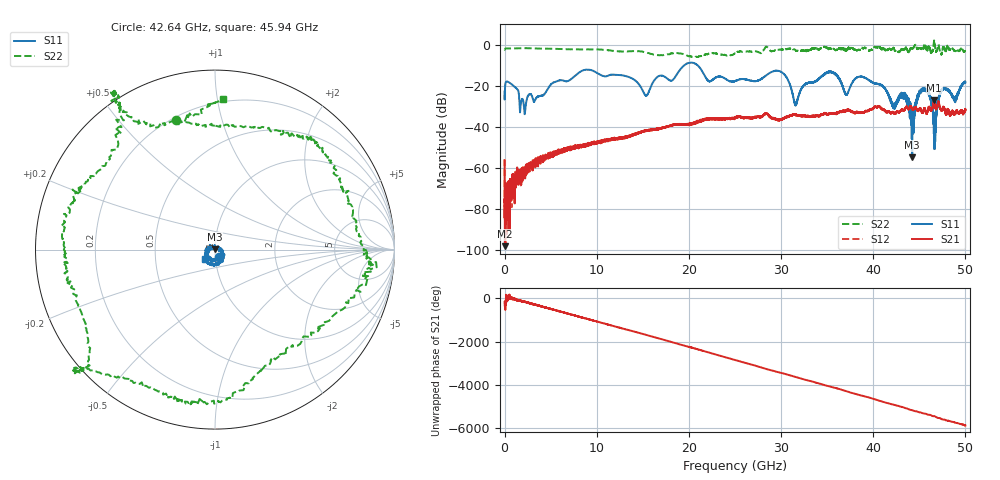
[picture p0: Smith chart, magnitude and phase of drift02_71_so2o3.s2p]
!Created with skrf (http://scikit-rf.org).
# Hz S RI R 50.0
!freq ReS11 ImS11 ReS21 ImS21 ReS12 ImS12 ReS22 ImS22
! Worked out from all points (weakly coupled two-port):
!   10001 points, 300 kHz to 50 GHz, reference 50 ohm
!   highest |S21| = -26.76 dB at 46.61 GHz (marker M1); lowest = -98.1 dB at 30.3 MHz (marker M2)
!   lowest |S11| = -54.7 dB at 44.23 GHz (marker M3), VSWR 1.00, Z = 49.8 + j0.0645 ohm
!   |S11| at or under -10 dB: start of sweep to 19.43 GHz; 21.00417 GHz to 21.00704 GHz (2.87 MHz wide, 0.0137 % of centre); 21.01 GHz to end of sweep
!   |S22| runs from -5.7 to 2.4 dB; largest |S21 - S12| = 0.0034
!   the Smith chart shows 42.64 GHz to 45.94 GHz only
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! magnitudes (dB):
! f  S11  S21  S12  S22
! 300 kHz  -22.5  -56.3  -55.5  -2.1
! 30.3 MHz  -22.4  -98.1  -75.5  -1.8
! 260.3 MHz  -17.6  -69.6  -70.7  -1.4
! 2.19 GHz  -33.5  -62.4  -61.7  -1.3
! 8.335 GHz  -12.5  -49.2  -49.7  -1.9
! 15.34 GHz  -24.6  -41.7  -41.6  -3.4
! 16.67 GHz  -15.1  -40.6  -40.9  -4.7
! 20.3 GHz  -8.4  -38.0  -38.3  -5.6
! 25 GHz  -17.4  -35.3  -35.3  -3.9
! 29.85 GHz  -12.6  -36.4  -36.4  -2.0
! 31.59 GHz  -29.0  -33.7  -34.2  -2.4
! 33.34 GHz  -17.9  -34.4  -34.5  -1.6
! 35.58 GHz  -13.3  -33.3  -33.3  -1.6
! 37.11 GHz  -24.0  -31.6  -31.7  -2.3
! 38.76 GHz  -15.3  -32.7  -32.7  -1.0
! 41.67 GHz  -24.7  -32.0  -32.2  -1.8
! 43.41 GHz  -23.5  -31.2  -31.4  -2.0
! 44.23 GHz  -54.7  -31.3  -31.1  -1.4
! 45.61 GHz  -21.6  -31.1  -31.1  0.2
! 46.61 GHz  -44.6  -26.8  -26.8  2.4
! 47.47 GHz  -21.7  -31.4  -31.5  -3.2
! 50 GHz  -18.0  -31.5  -31.6  -2.7
